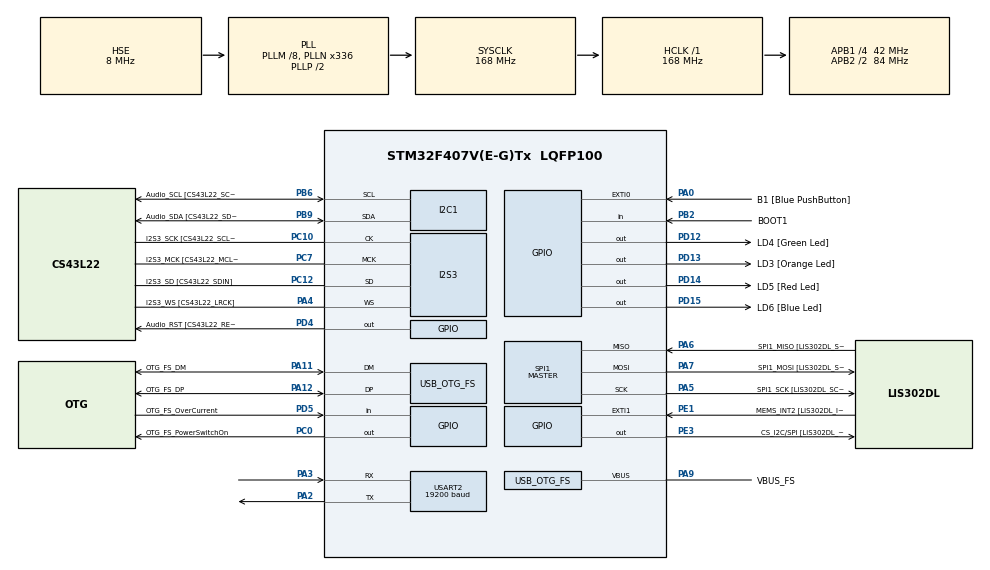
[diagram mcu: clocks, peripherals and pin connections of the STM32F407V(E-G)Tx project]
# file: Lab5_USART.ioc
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I2S3.AudioFreq-Half_Duplex_Master=I2S_AUDIOFREQ_96K
I2S3.ErrorAudioFreq=-2.34 %
I2S3.ErrorAudioFreq-Half_Duplex_Master=0.8 %
I2S3.FullDuplexMode=I2S_FULLDUPLEXMODE_DISABLE
I2S3.Instance=SPI$Index
I2S3.RealAudioFreq=93.75 KHz
I2S3.RealAudioFreq-Half_Duplex_Master=96.774 KHz
I2S3.VirtualMode=I2S_MODE_MASTER
Mcu.Family=STM32F4
Mcu.Name=STM32F407V(E-G)Tx
Mcu.Package=LQFP100
NVIC.OTG_FS_IRQn=true\:0\:0\:false\:false\:true\:true\:true\:true
NVIC.PriorityGroup=NVIC_PRIORITYGROUP_0
NVIC.USART2_IRQn=true\:0\:0\:false\:false\:true\:true\:true\:true
PA0-WKUP.GPIO_Label=B1 [Blue PushButton]
PA0-WKUP.GPIO_ModeDefaultEXTI=GPIO_MODE_EVT_RISING
PA0-WKUP.GPIO_PuPd=GPIO_NOPULL
PA0-WKUP.Signal=GPXTI0
PA10.GPIO_Label=OTG_FS_ID
PA10.GPIO_Mode=GPIO_MODE_AF_PP
PA10.GPIO_PuPd=GPIO_NOPULL
PA10.GPIO_Speed=GPIO_SPEED_FREQ_LOW
PA10.Signal=USB_OTG_FS_ID
PA11.GPIO_Label=OTG_FS_DM
PA11.GPIO_Mode=GPIO_MODE_AF_PP
PA11.GPIO_PuPd=GPIO_NOPULL
PA11.GPIO_Speed=GPIO_SPEED_FREQ_LOW
PA11.Mode=Host_Only
PA11.Signal=USB_OTG_FS_DM
PA12.GPIO_Label=OTG_FS_DP
PA12.GPIO_Mode=GPIO_MODE_AF_PP
PA12.GPIO_PuPd=GPIO_NOPULL
PA12.GPIO_Speed=GPIO_SPEED_FREQ_LOW
PA12.Mode=Host_Only
PA12.Signal=USB_OTG_FS_DP
PA13.GPIO_Label=SWDIO
PA13.Mode=Serial_Wire
PA13.Signal=SYS_JTMS-SWDIO
PA14.GPIO_Label=SWCLK
PA14.Mode=Serial_Wire
PA14.Signal=SYS_JTCK-SWCLK
PA2.Mode=Asynchronous
PA2.Signal=USART2_TX
PA3.Mode=Asynchronous
PA3.Signal=USART2_RX
PA4.GPIO_Label=I2S3_WS [CS43L22_LRCK]
PA4.GPIO_Mode=GPIO_MODE_AF_PP
PA4.GPIO_PuPd=GPIO_NOPULL
PA4.GPIO_Speed=GPIO_SPEED_FREQ_LOW
PA4.Mode=Half_Duplex_Master
PA4.Signal=I2S3_WS
PA5.GPIO_Label=SPI1_SCK [LIS302DL_SCL/SPC]
PA5.GPIO_Mode=GPIO_MODE_AF_PP
PA5.GPIO_PuPd=GPIO_NOPULL
PA5.GPIO_Speed=GPIO_SPEED_FREQ_LOW
PA5.Mode=Full_Duplex_Master
PA5.Signal=SPI1_SCK
PA6.GPIO_Label=SPI1_MISO [LIS302DL_SDO]
PA6.GPIO_Mode=GPIO_MODE_AF_PP
PA6.GPIO_PuPd=GPIO_NOPULL
PA6.GPIO_Speed=GPIO_SPEED_FREQ_LOW
PA6.Mode=Full_Duplex_Master
PA6.Signal=SPI1_MISO
PA7.GPIO_Label=SPI1_MOSI [LIS302DL_SDA/SDI/SDO]
PA7.GPIO_Mode=GPIO_MODE_AF_PP
PA7.GPIO_PuPd=GPIO_NOPULL
PA7.GPIO_Speed=GPIO_SPEED_FREQ_LOW
PA7.Mode=Full_Duplex_Master
PA7.Signal=SPI1_MOSI
PA9.GPIO_Label=VBUS_FS
PA9.GPIO_Mode=GPIO_MODE_INPUT
PA9.GPIO_PuPd=GPIO_NOPULL
PA9.Mode=Activate_VBUS
PA9.Signal=USB_OTG_FS_VBUS
PB10.GPIO_Label=CLK_IN [MP45DT02_CLK]
PB10.GPIO_Mode=GPIO_MODE_AF_PP
PB10.GPIO_PuPd=GPIO_NOPULL
PB10.GPIO_Speed=GPIO_SPEED_FREQ_LOW
PB10.Signal=I2S2_CK
PB2.GPIO_Label=BOOT1
PB2.GPIO_Mode=GPIO_MODE_INPUT
PB2.GPIO_PuPd=GPIO_NOPULL
PB2.Signal=GPIO_Input
PB3.GPIO_Label=SWO
PB3.Signal=SYS_JTDO-SWO
PB6.GPIO_Label=Audio_SCL [CS43L22_SCL]
PB6.GPIO_Mode=GPIO_MODE_AF_OD
PB6.GPIO_Pu=GPIO_PULLUP
PB6.GPIO_PuPd=GPIO_NOPULL
PB6.GPIO_Speed=GPIO_SPEED_FREQ_LOW
PB6.Mode=I2C
PB6.Signal=I2C1_SCL
PB9.GPIO_Label=Audio_SDA [CS43L22_SDA]
PB9.GPIO_Mode=GPIO_MODE_AF_OD
PB9.GPIO_Pu=GPIO_PULLUP
PB9.GPIO_PuPd=GPIO_NOPULL
PB9.GPIO_Speed=GPIO_SPEED_FREQ_LOW
PB9.Mode=I2C
PB9.Signal=I2C1_SDA
PC0.GPIO_Label=OTG_FS_PowerSwitchOn
PC0.GPIO_PuPd=GPIO_NOPULL
PC0.GPIO_Speed=GPIO_SPEED_FREQ_LOW
PC0.PinState=GPIO_PIN_SET
PC0.Signal=GPIO_Output
PC10.GPIO_Label=I2S3_SCK [CS43L22_SCLK]
PC10.GPIO_Mode=GPIO_MODE_AF_PP
PC10.GPIO_PuPd=GPIO_NOPULL
PC10.GPIO_Speed=GPIO_SPEED_FREQ_LOW
PC10.Mode=Half_Duplex_Master
PC10.Signal=I2S3_CK
PC12.GPIO_Label=I2S3_SD [CS43L22_SDIN]
PC12.GPIO_Mode=GPIO_MODE_AF_PP
PC12.GPIO_PuPd=GPIO_NOPULL
PC12.GPIO_Speed=GPIO_SPEED_FREQ_LOW
PC12.Mode=Half_Duplex_Master
PC12.Signal=I2S3_SD
PC14-OSC32_IN.GPIO_Label=PC14-OSC32_IN
PC14-OSC32_IN.Mode=LSE-External-Oscillator
PC14-OSC32_IN.Signal=RCC_OSC32_IN
PC15-OSC32_OUT.GPIO_Label=PC15-OSC32_OUT
PC15-OSC32_OUT.Mode=LSE-External-Oscillator
PC15-OSC32_OUT.Signal=RCC_OSC32_OUT
PC3.GPIO_Label=PDM_OUT [MP45DT02_DOUT]
PC3.GPIO_Mode=GPIO_MODE_AF_PP
PC3.GPIO_PuPd=GPIO_NOPULL
PC3.GPIO_Speed=GPIO_SPEED_FREQ_LOW
PC3.Signal=I2S2_SD
PC7.GPIO_Label=I2S3_MCK [CS43L22_MCLK]
PC7.GPIO_Mode=GPIO_MODE_AF_PP
PC7.GPIO_PuPd=GPIO_NOPULL
PC7.GPIO_Speed=GPIO_SPEED_FREQ_LOW
PC7.Mode=Master_Clock_Activated
PC7.Signal=I2S3_MCK
PD12.GPIO_Label=LD4 [Green Led]
PD12.GPIO_PuPd=GPIO_NOPULL
PD12.GPIO_Speed=GPIO_SPEED_FREQ_LOW
PD12.Signal=GPIO_Output
PD13.GPIO_Label=LD3 [Orange Led]
PD13.GPIO_PuPd=GPIO_NOPULL
PD13.GPIO_Speed=GPIO_SPEED_FREQ_LOW
PD13.Signal=GPIO_Output
PD14.GPIO_Label=LD5 [Red Led]
PD14.GPIO_PuPd=GPIO_NOPULL
PD14.GPIO_Speed=GPIO_SPEED_FREQ_LOW
PD14.Signal=GPIO_Output
PD15.GPIO_Label=LD6 [Blue Led]
PD15.GPIO_PuPd=GPIO_NOPULL
PD15.GPIO_Speed=GPIO_SPEED_FREQ_LOW
PD15.Signal=GPIO_Output
PD4.GPIO_Label=Audio_RST [CS43L22_RESET]
PD4.GPIO_PuPd=GPIO_NOPULL
PD4.GPIO_Speed=GPIO_SPEED_FREQ_LOW
PD4.Signal=GPIO_Output
PD5.GPIO_Label=OTG_FS_OverCurrent
PD5.GPIO_Mode=GPIO_MODE_INPUT
PD5.GPIO_PuPd=GPIO_NOPULL
PD5.Signal=GPIO_Input
PE1.GPIO_Label=MEMS_INT2 [LIS302DL_INT2]
PE1.GPIO_ModeDefaultEXTI=GPIO_MODE_EVT_RISING
PE1.GPIO_PuPd=GPIO_NOPULL
PE1.Signal=GPXTI1
PE3.GPIO_Label=CS_I2C/SPI [LIS302DL_CS_I2C/SPI]
PE3.GPIO_PuPd=GPIO_NOPULL
PE3.GPIO_Speed=GPIO_SPEED_FREQ_LOW
PE3.Signal=GPIO_Output
PH0-OSC_IN.GPIO_Label=PH0-OSC_IN
PH0-OSC_IN.Mode=HSE-External-Oscillator
PH0-OSC_IN.Signal=RCC_OSC_IN
PH1-OSC_OUT.GPIO_Label=PH1-OSC_OUT
PH1-OSC_OUT.Mode=HSE-External-Oscillator
PH1-OSC_OUT.Signal=RCC_OSC_OUT
ProjectManager.HeapSize=0x200
ProjectManager.StackSize=0x400
ProjectManager.TargetToolchain=STM32CubeIDE
RCC.48MHZClocksFreq_Value=48000000
RCC.AHBFreq_Value=168000000
RCC.APB1CLKDivider=RCC_HCLK_DIV4
RCC.APB1Freq_Value=42000000
RCC.APB1TimFreq_Value=84000000
RCC.APB2CLKDivider=RCC_HCLK_DIV2
RCC.APB2Freq_Value=84000000
RCC.APB2TimFreq_Value=168000000
RCC.CortexFreq_Value=168000000
RCC.HCLKFreq_Value=168000000
RCC.HSE_VALUE=8000000
RCC.HSI_VALUE=16000000
RCC.PLLM=8
RCC.PLLN=336
RCC.PLLQ=7
RCC.SYSCLKFreq_VALUE=168000000
RCC.SYSCLKSource=RCC_SYSCLKSOURCE_PLLCLK
RCC.VCOOutputFreq_Value=336000000
SPI1.BaudRatePrescaler-Full_Duplex_Master=SPI_BAUDRATEPRESCALER_2
SPI1.CalculateBaudRate-Full_Duplex_Master=42.0 MBits/s
SPI1.Direction=SPI_DIRECTION_2LINES
SPI1.Mode=SPI_MODE_MASTER
SPI1.Mode-Full_Duplex_Master=SPI_MODE_MASTER
SPI1.VirtualType=VM_MASTER
USART2.BaudRate=19200
USART2.VirtualMode=VM_ASYNC
USB_HOST.BSP.number=1
USB_HOST.USBH_HandleTypeDef-CDC_FS=hUsbHostFS
USB_HOST.VirtualModeFS=Cdc
USB_HOST0.BSP.STBoard=false
USB_HOST0.BSP.api=Unknown
USB_HOST0.BSP.instance=PC0
USB_HOST0.BSP.ip=GPIO
USB_HOST0.BSP.mode=Output
USB_HOST0.BSP.name=Drive_VBUS_FS
USB_HOST0.BSP.solution=PC0
USB_OTG_FS.VirtualMode=Host_Only
USB_OTG_FS.phy_itface=HCD_PHY_EMBEDDED
VP_USB_HOST_VS_USB_HOST_CDC_FS.Mode=CDC_FS
board=STM32F407G-DISC1

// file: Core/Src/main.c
/* USER CODE BEGIN Header */
/**
  ******************************************************************************
  * @file           : main.c
  * @brief          : Main program body
  ******************************************************************************
  * @attention
  *
  * Copyright (c) 2025 STMicroelectronics.
  * All rights reserved.
  *
  * This software is licensed under terms that can be found in the LICENSE file
  * in the root directory of this software component.
  * If no LICENSE file comes with this software, it is provided AS-IS.
  *
  ******************************************************************************
  */
/* USER CODE END Header */
#include "main.h"
#include "usb_host.h"

I2C_HandleTypeDef hi2c1;

I2S_HandleTypeDef hi2s3;

SPI_HandleTypeDef hspi1;

UART_HandleTypeDef huart2;

/* USER CODE BEGIN PV */
#define GREEN_PIN GPIO_PIN_12
#define ORANGE_PIN GPIO_PIN_13
#define RED_PIN GPIO_PIN_14
#define BLUE_PIN GPIO_PIN_15

uint8_t rx_command;
/* USER CODE END PV */

void SystemClock_Config(void);
static void MX_GPIO_Init(void);
static void MX_I2C1_Init(void);
static void MX_I2S3_Init(void);
static void MX_SPI1_Init(void);
static void MX_USART2_UART_Init(void);
void MX_USB_HOST_Process(void);

int main(void)
{

  /* MCU Configuration--------------------------------------------------------*/

  /* Reset of all peripherals, Initializes the Flash interface and the Systick. */
  HAL_Init();

  /* Configure the system clock */
  SystemClock_Config();

  /* Initialize all configured peripherals */
  MX_GPIO_Init();
  MX_I2C1_Init();
  MX_I2S3_Init();
  MX_SPI1_Init();
  MX_USB_HOST_Init();
  MX_USART2_UART_Init();
  /* USER CODE BEGIN 2 */
  HAL_UART_Receive_IT(&huart2, &rx_command, 1);
  //Примітка: у версії 2 використав переривання, адже це явно краще рішення.
  // Хоть у версії 1 в нас блокування становить максимум 10мс (останній аргумент HAL_UART_Receive), це все одно є непрактичним
  // у системах, де є інші задачі, крім зчитування значення з UART

  /* USER CODE END 2 */

  /* Infinite loop */
  while (1)
  {
    MX_USB_HOST_Process();

  }
}

void SystemClock_Config(void)
{
  RCC_OscInitTypeDef RCC_OscInitStruct = {0};
  RCC_ClkInitTypeDef RCC_ClkInitStruct = {0};

  /** Configure the main internal regulator output voltage
  */
  __HAL_RCC_PWR_CLK_ENABLE();
  __HAL_PWR_VOLTAGESCALING_CONFIG(PWR_REGULATOR_VOLTAGE_SCALE1);

  /** Initializes the RCC Oscillators according to the specified parameters
  * in the RCC_OscInitTypeDef structure.
  */
  RCC_OscInitStruct.OscillatorType = RCC_OSCILLATORTYPE_HSE;
  RCC_OscInitStruct.HSEState = RCC_HSE_ON;
  RCC_OscInitStruct.PLL.PLLState = RCC_PLL_ON;
  RCC_OscInitStruct.PLL.PLLSource = RCC_PLLSOURCE_HSE;
  RCC_OscInitStruct.PLL.PLLM = 8;
  RCC_OscInitStruct.PLL.PLLN = 336;
  RCC_OscInitStruct.PLL.PLLP = RCC_PLLP_DIV2;
  RCC_OscInitStruct.PLL.PLLQ = 7;
  if (HAL_RCC_OscConfig(&RCC_OscInitStruct) != HAL_OK)
  {
    Error_Handler();
  }

  /** Initializes the CPU, AHB and APB buses clocks
  */
  RCC_ClkInitStruct.ClockType = RCC_CLOCKTYPE_HCLK|RCC_CLOCKTYPE_SYSCLK
                              |RCC_CLOCKTYPE_PCLK1|RCC_CLOCKTYPE_PCLK2;
  RCC_ClkInitStruct.SYSCLKSource = RCC_SYSCLKSOURCE_PLLCLK;
  RCC_ClkInitStruct.AHBCLKDivider = RCC_SYSCLK_DIV1;
  RCC_ClkInitStruct.APB1CLKDivider = RCC_HCLK_DIV4;
  RCC_ClkInitStruct.APB2CLKDivider = RCC_HCLK_DIV2;

  if (HAL_RCC_ClockConfig(&RCC_ClkInitStruct, FLASH_LATENCY_5) != HAL_OK)
  {
    Error_Handler();
  }
}

static void MX_I2C1_Init(void)
{

  hi2c1.Instance = I2C1;
  hi2c1.Init.ClockSpeed = 100000;
  hi2c1.Init.DutyCycle = I2C_DUTYCYCLE_2;
  hi2c1.Init.OwnAddress1 = 0;
  hi2c1.Init.AddressingMode = I2C_ADDRESSINGMODE_7BIT;
  hi2c1.Init.DualAddressMode = I2C_DUALADDRESS_DISABLE;
  hi2c1.Init.OwnAddress2 = 0;
  hi2c1.Init.GeneralCallMode = I2C_GENERALCALL_DISABLE;
  hi2c1.Init.NoStretchMode = I2C_NOSTRETCH_DISABLE;
  if (HAL_I2C_Init(&hi2c1) != HAL_OK)
  {
    Error_Handler();
  }

}

static void MX_I2S3_Init(void)
{

  hi2s3.Instance = SPI3;
  hi2s3.Init.Mode = I2S_MODE_MASTER_TX;
  hi2s3.Init.Standard = I2S_STANDARD_PHILIPS;
  hi2s3.Init.DataFormat = I2S_DATAFORMAT_16B;
  hi2s3.Init.MCLKOutput = I2S_MCLKOUTPUT_ENABLE;
  hi2s3.Init.AudioFreq = I2S_AUDIOFREQ_96K;
  hi2s3.Init.CPOL = I2S_CPOL_LOW;
  hi2s3.Init.ClockSource = I2S_CLOCK_PLL;
  hi2s3.Init.FullDuplexMode = I2S_FULLDUPLEXMODE_DISABLE;
  if (HAL_I2S_Init(&hi2s3) != HAL_OK)
  {
    Error_Handler();
  }

}

static void MX_SPI1_Init(void)
{

  /* SPI1 parameter configuration*/
  hspi1.Instance = SPI1;
  hspi1.Init.Mode = SPI_MODE_MASTER;
  hspi1.Init.Direction = SPI_DIRECTION_2LINES;
  hspi1.Init.DataSize = SPI_DATASIZE_8BIT;
  hspi1.Init.CLKPolarity = SPI_POLARITY_LOW;
  hspi1.Init.CLKPhase = SPI_PHASE_1EDGE;
  hspi1.Init.NSS = SPI_NSS_SOFT;
  hspi1.Init.BaudRatePrescaler = SPI_BAUDRATEPRESCALER_2;
  hspi1.Init.FirstBit = SPI_FIRSTBIT_MSB;
  hspi1.Init.TIMode = SPI_TIMODE_DISABLE;
  hspi1.Init.CRCCalculation = SPI_CRCCALCULATION_DISABLE;
  hspi1.Init.CRCPolynomial = 10;
  if (HAL_SPI_Init(&hspi1) != HAL_OK)
  {
    Error_Handler();
  }

}

static void MX_USART2_UART_Init(void)
{

  huart2.Instance = USART2;
  huart2.Init.BaudRate = 19200;
  huart2.Init.WordLength = UART_WORDLENGTH_8B;
  huart2.Init.StopBits = UART_STOPBITS_1;
  huart2.Init.Parity = UART_PARITY_NONE;
  huart2.Init.Mode = UART_MODE_TX_RX;
  huart2.Init.HwFlowCtl = UART_HWCONTROL_NONE;
  huart2.Init.OverSampling = UART_OVERSAMPLING_16;
  if (HAL_UART_Init(&huart2) != HAL_OK)
  {
    Error_Handler();
  }

}

static void MX_GPIO_Init(void)
{
  GPIO_InitTypeDef GPIO_InitStruct = {0};

  /* GPIO Ports Clock Enable */
  __HAL_RCC_GPIOE_CLK_ENABLE();
  __HAL_RCC_GPIOC_CLK_ENABLE();
  __HAL_RCC_GPIOH_CLK_ENABLE();
  __HAL_RCC_GPIOA_CLK_ENABLE();
  __HAL_RCC_GPIOB_CLK_ENABLE();
  __HAL_RCC_GPIOD_CLK_ENABLE();

  /*Configure GPIO pin Output Level */
  HAL_GPIO_WritePin(CS_I2C_SPI_GPIO_Port, CS_I2C_SPI_Pin, GPIO_PIN_RESET);

  /*Configure GPIO pin Output Level */
  HAL_GPIO_WritePin(OTG_FS_PowerSwitchOn_GPIO_Port, OTG_FS_PowerSwitchOn_Pin, GPIO_PIN_SET);

  /*Configure GPIO pin Output Level */
  HAL_GPIO_WritePin(GPIOD, LD4_Pin|LD3_Pin|LD5_Pin|LD6_Pin
                          |Audio_RST_Pin, GPIO_PIN_RESET);

  /*Configure GPIO pin : CS_I2C_SPI_Pin */
  GPIO_InitStruct.Pin = CS_I2C_SPI_Pin;
  GPIO_InitStruct.Mode = GPIO_MODE_OUTPUT_PP;
  GPIO_InitStruct.Pull = GPIO_NOPULL;
  GPIO_InitStruct.Speed = GPIO_SPEED_FREQ_LOW;
  HAL_GPIO_Init(CS_I2C_SPI_GPIO_Port, &GPIO_InitStruct);

  /*Configure GPIO pin : OTG_FS_PowerSwitchOn_Pin */
  GPIO_InitStruct.Pin = OTG_FS_PowerSwitchOn_Pin;
  GPIO_InitStruct.Mode = GPIO_MODE_OUTPUT_PP;
  GPIO_InitStruct.Pull = GPIO_NOPULL;
  GPIO_InitStruct.Speed = GPIO_SPEED_FREQ_LOW;
  HAL_GPIO_Init(OTG_FS_PowerSwitchOn_GPIO_Port, &GPIO_InitStruct);

  /*Configure GPIO pin : PDM_OUT_Pin */
  GPIO_InitStruct.Pin = PDM_OUT_Pin;
  GPIO_InitStruct.Mode = GPIO_MODE_AF_PP;
  GPIO_InitStruct.Pull = GPIO_NOPULL;
  GPIO_InitStruct.Speed = GPIO_SPEED_FREQ_LOW;
  GPIO_InitStruct.Alternate = GPIO_AF5_SPI2;
  HAL_GPIO_Init(PDM_OUT_GPIO_Port, &GPIO_InitStruct);

  /*Configure GPIO pin : B1_Pin */
  GPIO_InitStruct.Pin = B1_Pin;
  GPIO_InitStruct.Mode = GPIO_MODE_EVT_RISING;
  GPIO_InitStruct.Pull = GPIO_NOPULL;
  HAL_GPIO_Init(B1_GPIO_Port, &GPIO_InitStruct);

  /*Configure GPIO pin : BOOT1_Pin */
  GPIO_InitStruct.Pin = BOOT1_Pin;
  GPIO_InitStruct.Mode = GPIO_MODE_INPUT;
  GPIO_InitStruct.Pull = GPIO_NOPULL;
  HAL_GPIO_Init(BOOT1_GPIO_Port, &GPIO_InitStruct);

  /*Configure GPIO pin : CLK_IN_Pin */
  GPIO_InitStruct.Pin = CLK_IN_Pin;
  GPIO_InitStruct.Mode = GPIO_MODE_AF_PP;
  GPIO_InitStruct.Pull = GPIO_NOPULL;
  GPIO_InitStruct.Speed = GPIO_SPEED_FREQ_LOW;
  GPIO_InitStruct.Alternate = GPIO_AF5_SPI2;
  HAL_GPIO_Init(CLK_IN_GPIO_Port, &GPIO_InitStruct);

  /*Configure GPIO pins : LD4_Pin LD3_Pin LD5_Pin LD6_Pin
                           Audio_RST_Pin */
  GPIO_InitStruct.Pin = LD4_Pin|LD3_Pin|LD5_Pin|LD6_Pin
                          |Audio_RST_Pin;
  GPIO_InitStruct.Mode = GPIO_MODE_OUTPUT_PP;
  GPIO_InitStruct.Pull = GPIO_NOPULL;
  GPIO_InitStruct.Speed = GPIO_SPEED_FREQ_LOW;
  HAL_GPIO_Init(GPIOD, &GPIO_InitStruct);

  /*Configure GPIO pin : OTG_FS_OverCurrent_Pin */
  GPIO_InitStruct.Pin = OTG_FS_OverCurrent_Pin;
  GPIO_InitStruct.Mode = GPIO_MODE_INPUT;
  GPIO_InitStruct.Pull = GPIO_NOPULL;
  HAL_GPIO_Init(OTG_FS_OverCurrent_GPIO_Port, &GPIO_InitStruct);

  /*Configure GPIO pin : MEMS_INT2_Pin */
  GPIO_InitStruct.Pin = MEMS_INT2_Pin;
  GPIO_InitStruct.Mode = GPIO_MODE_EVT_RISING;
  GPIO_InitStruct.Pull = GPIO_NOPULL;
  HAL_GPIO_Init(MEMS_INT2_GPIO_Port, &GPIO_InitStruct);

}

/* USER CODE BEGIN 4 */
void HAL_UART_RxCpltCallback(UART_HandleTypeDef *huart) {
    if (huart->Instance == USART2) {
        process_uart_command(rx_command);
        HAL_UART_Receive_IT(&huart2, &rx_command, 1);
    }
}

void process_uart_command(uint8_t command) {
	switch (command) {

		  	  case 'Q': // Зелений +
		          HAL_GPIO_WritePin(GPIOD, GREEN_PIN, GPIO_PIN_SET);
		          break;
		      case 'A': // Зелений -
		          HAL_GPIO_WritePin(GPIOD, GREEN_PIN, GPIO_PIN_RESET);
		          break;

		      case 'W': // Оранжевий +
		          HAL_GPIO_WritePin(GPIOD, ORANGE_PIN, GPIO_PIN_SET);
		          break;
		      case 'S': // Оранжевий -
		          HAL_GPIO_WritePin(GPIOD, ORANGE_PIN, GPIO_PIN_RESET);
		          break;

		      case 'E': // Червоний +
		          HAL_GPIO_WritePin(GPIOD, RED_PIN, GPIO_PIN_SET);
		          break;
		      case 'D': // Червоний -
		          HAL_GPIO_WritePin(GPIOD, RED_PIN, GPIO_PIN_RESET);
		          break;

		      case 'R': // Синій +
		          HAL_GPIO_WritePin(GPIOD, BLUE_PIN, GPIO_PIN_SET);
		          break;
		      case 'F': // Синій -
		          HAL_GPIO_WritePin(GPIOD, BLUE_PIN, GPIO_PIN_RESET);
		          break;

		      case '1': // Усі +
		          HAL_GPIO_WritePin(GPIOD, GREEN_PIN, GPIO_PIN_SET);
		          HAL_GPIO_WritePin(GPIOD, ORANGE_PIN, GPIO_PIN_SET);
		          HAL_GPIO_WritePin(GPIOD, RED_PIN, GPIO_PIN_SET);
		          HAL_GPIO_WritePin(GPIOD, BLUE_PIN, GPIO_PIN_SET);
		          break;
		      case '0': // Усі -
		          HAL_GPIO_WritePin(GPIOD, GREEN_PIN, GPIO_PIN_RESET);
		          HAL_GPIO_WritePin(GPIOD, ORANGE_PIN, GPIO_PIN_RESET);
		          HAL_GPIO_WritePin(GPIOD, RED_PIN, GPIO_PIN_RESET);
		          HAL_GPIO_WritePin(GPIOD, BLUE_PIN, GPIO_PIN_RESET);
		          break;

		      default:
		    	  break;

		  }
}

/* USER CODE END 4 */

void Error_Handler(void)
{
  __disable_irq();
  while (1)
  {
  }
}
